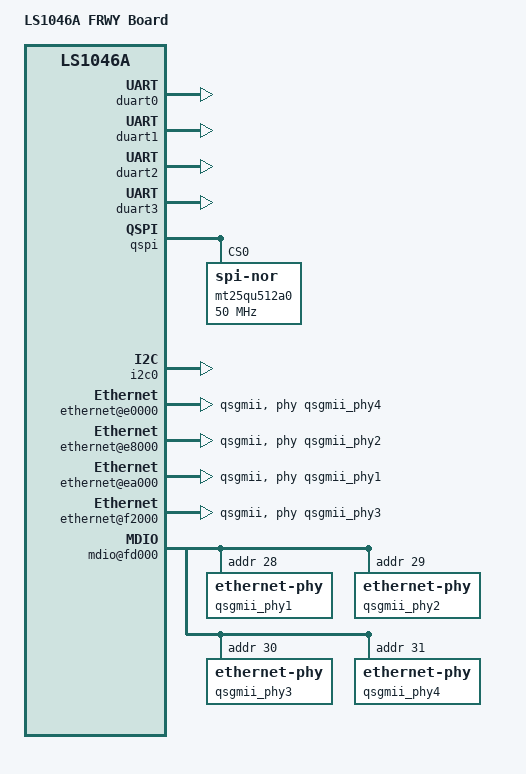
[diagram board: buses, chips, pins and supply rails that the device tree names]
// SPDX-License-Identifier: GPL-2.0+ OR X11
/*
 * Device Tree Include file for NXP Layerscape-1046A family SoC.
 *
 * Copyright 2019-2023 NXP
 *
 */

/dts-v1/;
#include "fsl-ls1046a.dtsi"

/ {
	model = "LS1046A FRWY Board";

	aliases {
		spi0 = &qspi;
		serial0 = &duart0;
		serial1 = &duart1;
		serial2 = &duart2;
		serial3 = &duart3;
	};

};

&duart0 {
	status = "okay";
};

&duart1 {
	status = "okay";
};

&duart2 {
	status = "okay";
};

&duart3 {
	status = "okay";
};

&qspi {
	status = "okay";

	mt25qu512a0: flash@0 {
		#address-cells = <1>;
		#size-cells = <1>;
		compatible = "jedec,spi-nor";
		spi-max-frequency = <50000000>;
		reg = <0>;
	};

};

&i2c0 {
	status = "okay";
};

#include "fsl-ls1046-post.dtsi"

&fman0 {
	ethernet@e0000 {
		phy-handle = <&qsgmii_phy4>;
		phy-connection-type = "qsgmii";
		status = "okay";
	};

	ethernet@e8000 {
		phy-handle = <&qsgmii_phy2>;
		phy-connection-type = "qsgmii";
		status = "okay";
	};

	ethernet@ea000 {
		phy-handle = <&qsgmii_phy1>;
		phy-connection-type = "qsgmii";
		status = "okay";
	};

	ethernet@f2000 {
		phy-handle = <&qsgmii_phy3>;
		phy-connection-type = "qsgmii";
		status = "okay";
	};

	mdio@fd000 {
		qsgmii_phy1: ethernet-phy@1c {
			reg = <0x1c>;
		};

		qsgmii_phy2: ethernet-phy@1d {
			reg = <0x1d>;
		};

		qsgmii_phy3: ethernet-phy@1e {
			reg = <0x1e>;
		};

		qsgmii_phy4: ethernet-phy@1f {
			reg = <0x1f>;
		};
	};
};
